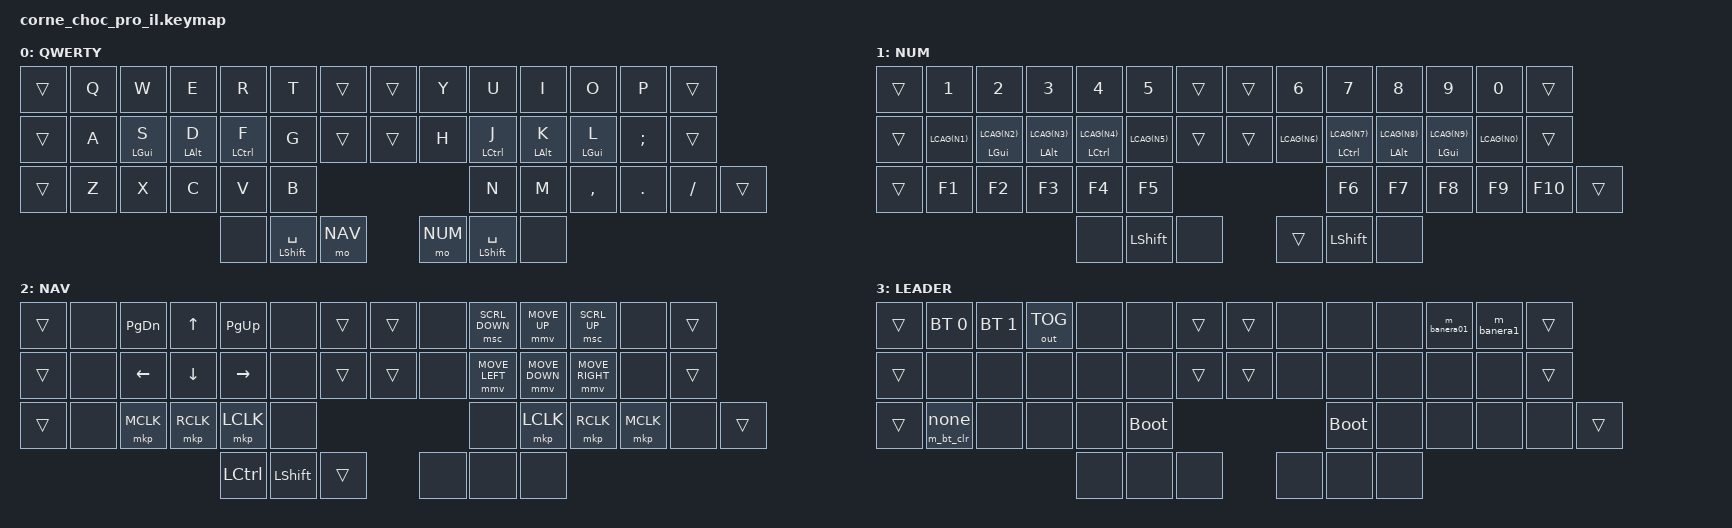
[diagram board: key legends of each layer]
/*
 * il keymap for Corne Choc Pro
 * Ported from QMK 3w6_rgb keymaps/il.
 *
 * Mapping: the 3w6 is 5 cols x 3 rows + 3 thumbs per side. Corne is 6 cols
 * + 1 encoder/inner column per side. The 3w6 keys land on cols 1-5 of corne;
 * the outer column (TAB/CTRL/SHFT/BSPC positions on stock corne) and the
 * encoder column are &trans on every layer.
 *
 * Default Corne position grid (with &default_layout):
 *   row 1:  0  1  2  3  4  5  6  7  8  9 10 11 12 13
 *   row 2: 14 15 16 17 18 19 20 21 22 23 24 25 26 27
 *   row 3: 28 29 30 31 32 33       34 35 36 37 38 39
 *   thumb:          40 41 42       43 44 45
 */

#include <behaviors.dtsi>
#include <dt-bindings/zmk/keys.h>
#include <dt-bindings/zmk/bt.h>
#include <dt-bindings/zmk/outputs.h>
#include <dt-bindings/zmk/rgb.h>
#include <dt-bindings/zmk/pointing.h>

#define DEF 0
#define NUM 1
#define NAV 2
#define LDR 3

#define LCAG(k) LC(LA(LG(k)))

/ {
    chosen {
        zmk,physical-layout = &default_layout;
    };

    behaviors {
        // Home-row mod on the left hand. Holds only fire if the next key is
        // on the right hand (positions of right-hand keys + right thumbs).
        hml: homerow_mod_left {
            compatible = "zmk,behavior-hold-tap";
            #binding-cells = <2>;
            flavor = "balanced";
            tapping-term-ms = <200>;
            quick-tap-ms = <150>;
            require-prior-idle-ms = <100>;
            bindings = <&kp>, <&kp>;
            hold-trigger-key-positions = <8 9 10 11 12 13 22 23 24 25 26 27 34 35 36 37 38 39 43 44 45>;
            hold-trigger-on-release;
        };

        // Home-row mod on the right hand. Mirror of hml.
        hmr: homerow_mod_right {
            compatible = "zmk,behavior-hold-tap";
            #binding-cells = <2>;
            flavor = "balanced";
            tapping-term-ms = <200>;
            quick-tap-ms = <150>;
            require-prior-idle-ms = <100>;
            bindings = <&kp>, <&kp>;
            hold-trigger-key-positions = <0 1 2 3 4 5 6 7 14 15 16 17 18 19 20 21 28 29 30 31 32 33 40 41 42>;
            hold-trigger-on-release;
        };

        // "Hold for 1 second to clear the active BT profile."
        // Tap does nothing; only a deliberate long-hold fires &bt BT_CLR.
        // Used on the LEADER layer at Z (position 29).
        //
        // #binding-cells is fixed at 2 by the hold-tap schema; the two
        // cells are forwarded as params to the hold/tap inner bindings.
        // Our inners are 0-cell (a macro and &none), so the forwarded
        // params are inert. We always invoke this as `&bt_clr_hold 0 0`.
        bt_clr_hold: bt_clr_hold {
            compatible = "zmk,behavior-hold-tap";
            #binding-cells = <2>;
            flavor = "hold-preferred";
            tapping-term-ms = <1000>;
            bindings = <&m_bt_clr>, <&none>;
        };
    };

    macros {
        // Leader -> P: types "h@banera1\n"
        m_banera1: m_banera1 {
            compatible = "zmk,behavior-macro";
            #binding-cells = <0>;
            wait-ms = <10>;
            tap-ms = <10>;
            bindings = <&macro_tap &kp H &kp AT &kp B &kp A &kp N &kp E &kp R &kp A &kp N1 &kp ENTER>;
        };

        // Zero-cell wrapper around &bt BT_CLR so it can be used as
        // a hold-tap inner binding (see bt_clr_hold).
        m_bt_clr: m_bt_clr {
            compatible = "zmk,behavior-macro";
            #binding-cells = <0>;
            wait-ms = <10>;
            tap-ms = <10>;
            bindings = <&bt BT_CLR>;
        };

        // Leader -> O: types "H@banera01\n"
        m_banera01: m_banera01 {
            compatible = "zmk,behavior-macro";
            #binding-cells = <0>;
            wait-ms = <10>;
            tap-ms = <10>;
            bindings
                = <&macro_press &kp LSHFT>
                , <&macro_tap &kp H>
                , <&macro_release &kp LSHFT>
                , <&macro_tap &kp AT &kp B &kp A &kp N &kp E &kp R &kp A &kp N0 &kp N1 &kp ENTER>;
        };

    };

    combos {
        compatible = "zmk,combos";

        // Top-row left letter combos: W+E -> `, E+R -> ', W+R -> \, W+E+R -> ESC
        we_grave   { timeout-ms = <40>; key-positions = <2 3>;   bindings = <&kp GRAVE>; };
        er_squote  { timeout-ms = <40>; key-positions = <3 4>;   bindings = <&kp SQT>;   };
        wr_bslh    { timeout-ms = <40>; key-positions = <2 4>;   bindings = <&kp BSLH>;  };
        wer_esc    { timeout-ms = <40>; key-positions = <2 3 4>; bindings = <&kp ESC>;   };

        // Top-row right letter combos: I+O -> BSPC, U+I -> -, U+O -> =
        io_bspc    { timeout-ms = <40>; key-positions = <10 11>; bindings = <&kp BSPC>;  };
        ui_minus   { timeout-ms = <40>; key-positions = <9 10>;  bindings = <&kp MINUS>; };
        uo_equal   { timeout-ms = <40>; key-positions = <9 11>;  bindings = <&kp EQUAL>; };

        // Bottom-row left letter combos: X+C -> [, C+V -> TAB, X+C+V -> leader (sticky LDR)
        xc_lbkt    { timeout-ms = <40>; key-positions = <30 31>;    bindings = <&kp LBKT>;   };
        cv_tab     { timeout-ms = <40>; key-positions = <31 32>;    bindings = <&kp TAB>;    };
        xcv_leader { timeout-ms = <40>; key-positions = <30 31 32>; bindings = <&sl LDR>;    };

        // Bottom-row right combos: , + . -> ], M + , -> ENTER
        commadot_rbkt { timeout-ms = <40>; key-positions = <36 37>; bindings = <&kp RBKT>;  };
        mcomma_enter  { timeout-ms = <40>; key-positions = <35 36>; bindings = <&kp ENTER>; };
    };

    keymap {
        compatible = "zmk,keymap";

        default_layer {
            display-name = "QWERTY";
            bindings = <
&trans &kp Q  &kp W       &kp E       &kp R        &kp T   &trans   &trans   &kp Y   &kp U        &kp I       &kp O       &kp P    &trans
&trans &kp A  &hml LGUI S &hml LALT D &hml LCTRL F &kp G   &trans   &trans   &kp H   &hmr LCTRL J &hmr LALT K &hmr LGUI L &kp SEMI &trans
&trans &kp Z  &kp X       &kp C       &kp V        &kp B                              &kp N   &kp M        &kp COMMA   &kp DOT     &kp FSLH &trans
                                      &none        &mt LSHFT SPACE &mo NAV   &mo NUM &mt LSHFT SPACE &none
            >;
        };

        num_layer {
            display-name = "NUM";
            bindings = <
&trans &kp N1        &kp N2              &kp N3              &kp N4               &kp N5        &trans &trans &kp N6         &kp N7              &kp N8             &kp N9             &kp N0         &trans
&trans &kp LCAG(N1)  &hml LGUI LCAG(N2)  &hml LALT LCAG(N3)  &hml LCTRL LCAG(N4)  &kp LCAG(N5) &trans &trans &kp LCAG(N6)   &hmr LCTRL LCAG(N7) &hmr LALT LCAG(N8) &hmr LGUI LCAG(N9) &kp LCAG(N0)   &trans
&trans &kp F1        &kp F2              &kp F3              &kp F4               &kp F5                     &kp F6         &kp F7              &kp F8             &kp F9             &kp F10        &trans
                                                     &none            &kp LSHFT      &none          &trans         &kp LSHFT        &none
            >;
        };

        nav_layer {
            display-name = "NAV";
            bindings = <
&trans &none      &kp PG_DN  &kp UP     &kp PG_UP  &none      &trans &trans &none           &msc SCRL_DOWN  &mmv MOVE_UP    &msc SCRL_UP    &none &trans
&trans &none      &kp LEFT   &kp DOWN   &kp RIGHT  &none      &trans &trans &none           &mmv MOVE_LEFT  &mmv MOVE_DOWN  &mmv MOVE_RIGHT &none &trans
&trans &none      &mkp MCLK  &mkp RCLK  &mkp LCLK  &none                    &none           &mkp LCLK       &mkp RCLK       &mkp MCLK       &none &trans
                                        &kp LCTRL  &kp LSHFT  &trans                        &none           &none           &none
            >;
        };

        leader_layer {
            display-name = "LEADER";
            // X+C+V combo fires &sl LDR, then the next key picks a binding.
            //   Q -> select BT profile 1, W -> select BT profile 2
            //   E -> toggle HID output (USB <-> BLE)
            //   Z -> HOLD 1s to clear active BT profile (&bt BT_CLR)
            //   O -> "H@banera01\n", P -> "h@banera1\n"
            //   B -> bootloader (left half), N -> bootloader (right half)
            bindings = <
&trans &bt BT_SEL 0 &bt BT_SEL 1 &out OUT_TOG &none &none        &trans &trans &none &none &none &m_banera01 &m_banera1 &trans
&trans &none        &none        &none &none &none        &trans &trans &none &none &none &none       &none      &trans
&trans &bt_clr_hold 0 0 &none &none &none &bootloader                &bootloader &none &none &none &none      &trans
                                       &none &none &none                &none &none &none
            >;
        };
    };
};
